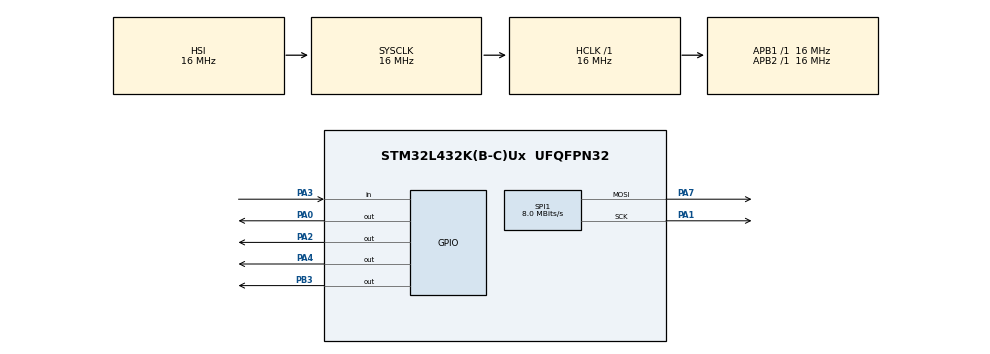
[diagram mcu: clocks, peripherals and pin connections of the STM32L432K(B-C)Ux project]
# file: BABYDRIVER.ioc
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Mcu.Family=STM32L4
Mcu.Name=STM32L432K(B-C)Ux
Mcu.Package=UFQFPN32
NVIC.PriorityGroup=NVIC_PRIORITYGROUP_4
PA0.GPIO_PuPd=GPIO_PULLUP
PA0.GPIO_Speed=GPIO_SPEED_FREQ_HIGH
PA0.Signal=GPIO_Output
PA1.Mode=TX_Only_Simplex_Unidirect_Master
PA1.Signal=SPI1_SCK
PA2.GPIO_PuPd=GPIO_PULLUP
PA2.GPIO_Speed=GPIO_SPEED_FREQ_HIGH
PA2.Signal=GPIO_Output
PA3.GPIO_PuPd=GPIO_PULLUP
PA3.Signal=GPIO_Input
PA4.GPIO_PuPd=GPIO_PULLUP
PA4.GPIO_Speed=GPIO_SPEED_FREQ_HIGH
PA4.Signal=GPIO_Output
PA7.Mode=TX_Only_Simplex_Unidirect_Master
PA7.Signal=SPI1_MOSI
PB3\ (JTDO-TRACESWO).Signal=GPIO_Output
ProjectManager.HeapSize=0x200
ProjectManager.StackSize=0x400
ProjectManager.TargetToolchain=Makefile
RCC.ADCFreq_Value=64000000
RCC.AHBFreq_Value=16000000
RCC.APB1Freq_Value=16000000
RCC.APB1TimFreq_Value=16000000
RCC.APB2Freq_Value=16000000
RCC.APB2TimFreq_Value=16000000
RCC.CortexFreq_Value=16000000
RCC.HCLKFreq_Value=16000000
RCC.HSE_VALUE=8000000
RCC.HSI48_VALUE=48000000
RCC.HSI_VALUE=16000000
RCC.LSE_VALUE=32768
RCC.MSI_VALUE=4000000
RCC.PLLSourceVirtual=RCC_PLLSOURCE_HSI
RCC.SYSCLKFreq_VALUE=16000000
RCC.SYSCLKSource=RCC_SYSCLKSOURCE_HSI
RCC.USBFreq_Value=64000000
RCC.VCOOutputFreq_Value=128000000
SPI1.BaudRatePrescaler=SPI_BAUDRATEPRESCALER_2
SPI1.CalculateBaudRate=8.0 MBits/s
SPI1.DataSize=SPI_DATASIZE_8BIT
SPI1.Direction=SPI_DIRECTION_2LINES
SPI1.Mode=SPI_MODE_MASTER
SPI1.VirtualType=VM_MASTER
board=custom

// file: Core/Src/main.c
/* USER CODE BEGIN Header */
/**
  ******************************************************************************
  * @file           : main.c
  * @brief          : Main program body
  ******************************************************************************
  * @attention
  *
  * Copyright (c) 2025 STMicroelectronics.
  * All rights reserved.
  *
  * This software is licensed under terms that can be found in the LICENSE file
  * in the root directory of this software component.
  * If no LICENSE file comes with this software, it is provided AS-IS.
  *
  ******************************************************************************
  */
/* USER CODE END Header */
#include "main.h"

/* USER CODE BEGIN Includes */

#include "babydriver.h"
//#include "farenheight8251.h"
#include "kuromi.h"
#include "stm32l4xx_hal_gpio.h"

/* USER CODE END Includes */

SPI_HandleTypeDef hspi1;

void SystemClock_Config(void);
static void MX_GPIO_Init(void);
static void MX_SPI1_Init(void);

/* USER CODE BEGIN 0 */

void set_cd(bool state) {

  HAL_GPIO_WritePin(GPIOA, GPIO_PIN_4, state
  ? GPIO_PIN_SET
  : GPIO_PIN_RESET);
}

void spi_tx(uint8_t data) {

  HAL_GPIO_WritePin(GPIOA, GPIO_PIN_0, GPIO_PIN_RESET);
  HAL_SPI_Transmit(&hspi1, &data, 1, 10);
  HAL_GPIO_WritePin(GPIOA, GPIO_PIN_0, GPIO_PIN_SET);
}

void reset_display() {

  HAL_GPIO_WritePin(GPIOA, GPIO_PIN_2, GPIO_PIN_RESET);
  HAL_Delay(1000);

  HAL_GPIO_WritePin(GPIOA, GPIO_PIN_2, GPIO_PIN_SET);
  HAL_Delay(1000);
}

/* USER CODE END 0 */

int main(void)
{

  /* MCU Configuration--------------------------------------------------------*/

  /* Reset of all peripherals, Initializes the Flash interface and the Systick. */
  HAL_Init();

  /* Configure the system clock */
  SystemClock_Config();

  /* Initialize all configured peripherals */
  MX_GPIO_Init();
  MX_SPI1_Init();
  /* USER CODE BEGIN 2 */

  bd_set_set_cd(&set_cd);
  bd_set_spi_tx(&spi_tx);

  reset_display();

  bd_power_on();
  bd_init();

  bd_fill_framebuffer(true);
  bd_draw_bitmap(20, 5, KUROMI_SMALL_WIDTH, KUROMI_SMALL_HEIGHT, smiley);
  bd_draw_text(0, 80, 16, "https://trent.surf");
  bd_draw_rectangle(170, 20, 20, 20);
  bd_draw_triangle(130, 80, 10, 2);
  bd_draw_triangle(130, 40, 10, 2);

  //bd_draw_text(40, 105, 16, "hello! my friends");

  //bd_draw_rectangle(170, 80, 20, 20);
  //bd_draw_triangle(130, 80, 10, 2);

  //bd_draw_text(40, 105, 16, "hello! my friends");

  /* USER CODE END 2 */

  /* Infinite loop */
  /* USER CODE BEGIN WHILE */
  while (1)
  {
    //f8251_render_framebuffer(true);
    HAL_GPIO_WritePin(GPIOB, GPIO_PIN_3, GPIO_PIN_SET);
    HAL_Delay(2000);
    bd_render_framebuffer(true);

    //
    /* USER CODE END WHILE */

  }
}

void SystemClock_Config(void)
{
  RCC_OscInitTypeDef RCC_OscInitStruct = {0};
  RCC_ClkInitTypeDef RCC_ClkInitStruct = {0};

  /** Configure the main internal regulator output voltage
  */
  if (HAL_PWREx_ControlVoltageScaling(PWR_REGULATOR_VOLTAGE_SCALE1) != HAL_OK)
  {
    Error_Handler();
  }

  /** Initializes the RCC Oscillators according to the specified parameters
  * in the RCC_OscInitTypeDef structure.
  */
  RCC_OscInitStruct.OscillatorType = RCC_OSCILLATORTYPE_HSI;
  RCC_OscInitStruct.HSIState = RCC_HSI_ON;
  RCC_OscInitStruct.HSICalibrationValue = RCC_HSICALIBRATION_DEFAULT;
  RCC_OscInitStruct.PLL.PLLState = RCC_PLL_NONE;
  if (HAL_RCC_OscConfig(&RCC_OscInitStruct) != HAL_OK)
  {
    Error_Handler();
  }

  /** Initializes the CPU, AHB and APB buses clocks
  */
  RCC_ClkInitStruct.ClockType = RCC_CLOCKTYPE_HCLK|RCC_CLOCKTYPE_SYSCLK
                              |RCC_CLOCKTYPE_PCLK1|RCC_CLOCKTYPE_PCLK2;
  RCC_ClkInitStruct.SYSCLKSource = RCC_SYSCLKSOURCE_HSI;
  RCC_ClkInitStruct.AHBCLKDivider = RCC_SYSCLK_DIV1;
  RCC_ClkInitStruct.APB1CLKDivider = RCC_HCLK_DIV1;
  RCC_ClkInitStruct.APB2CLKDivider = RCC_HCLK_DIV1;

  if (HAL_RCC_ClockConfig(&RCC_ClkInitStruct, FLASH_LATENCY_0) != HAL_OK)
  {
    Error_Handler();
  }
}

static void MX_SPI1_Init(void)
{

  /* SPI1 parameter configuration*/
  hspi1.Instance = SPI1;
  hspi1.Init.Mode = SPI_MODE_MASTER;
  hspi1.Init.Direction = SPI_DIRECTION_2LINES;
  hspi1.Init.DataSize = SPI_DATASIZE_8BIT;
  hspi1.Init.CLKPolarity = SPI_POLARITY_LOW;
  hspi1.Init.CLKPhase = SPI_PHASE_1EDGE;
  hspi1.Init.NSS = SPI_NSS_SOFT;
  hspi1.Init.BaudRatePrescaler = SPI_BAUDRATEPRESCALER_2;
  hspi1.Init.FirstBit = SPI_FIRSTBIT_MSB;
  hspi1.Init.TIMode = SPI_TIMODE_DISABLE;
  hspi1.Init.CRCCalculation = SPI_CRCCALCULATION_DISABLE;
  hspi1.Init.CRCPolynomial = 7;
  hspi1.Init.CRCLength = SPI_CRC_LENGTH_DATASIZE;
  hspi1.Init.NSSPMode = SPI_NSS_PULSE_ENABLE;
  if (HAL_SPI_Init(&hspi1) != HAL_OK)
  {
    Error_Handler();
  }

}

static void MX_GPIO_Init(void)
{
  GPIO_InitTypeDef GPIO_InitStruct = {0};

  /* GPIO Ports Clock Enable */
  __HAL_RCC_GPIOA_CLK_ENABLE();
  __HAL_RCC_GPIOB_CLK_ENABLE();

  /*Configure GPIO pin Output Level */
  HAL_GPIO_WritePin(GPIOA, GPIO_PIN_0|GPIO_PIN_2|GPIO_PIN_4, GPIO_PIN_RESET);

  /*Configure GPIO pin Output Level */
  HAL_GPIO_WritePin(GPIOB, GPIO_PIN_3, GPIO_PIN_RESET);

  /*Configure GPIO pins : PA0 PA2 PA4 */
  GPIO_InitStruct.Pin = GPIO_PIN_0|GPIO_PIN_2|GPIO_PIN_4;
  GPIO_InitStruct.Mode = GPIO_MODE_OUTPUT_PP;
  GPIO_InitStruct.Pull = GPIO_PULLUP;
  GPIO_InitStruct.Speed = GPIO_SPEED_FREQ_HIGH;
  HAL_GPIO_Init(GPIOA, &GPIO_InitStruct);

  /*Configure GPIO pin : PA3 */
  GPIO_InitStruct.Pin = GPIO_PIN_3;
  GPIO_InitStruct.Mode = GPIO_MODE_INPUT;
  GPIO_InitStruct.Pull = GPIO_PULLUP;
  HAL_GPIO_Init(GPIOA, &GPIO_InitStruct);

  /*Configure GPIO pin : PB3 */
  GPIO_InitStruct.Pin = GPIO_PIN_3;
  GPIO_InitStruct.Mode = GPIO_MODE_OUTPUT_PP;
  GPIO_InitStruct.Pull = GPIO_NOPULL;
  GPIO_InitStruct.Speed = GPIO_SPEED_FREQ_LOW;
  HAL_GPIO_Init(GPIOB, &GPIO_InitStruct);

}

void Error_Handler(void)
{
  __disable_irq();
  while (1)
  {
  }
}
